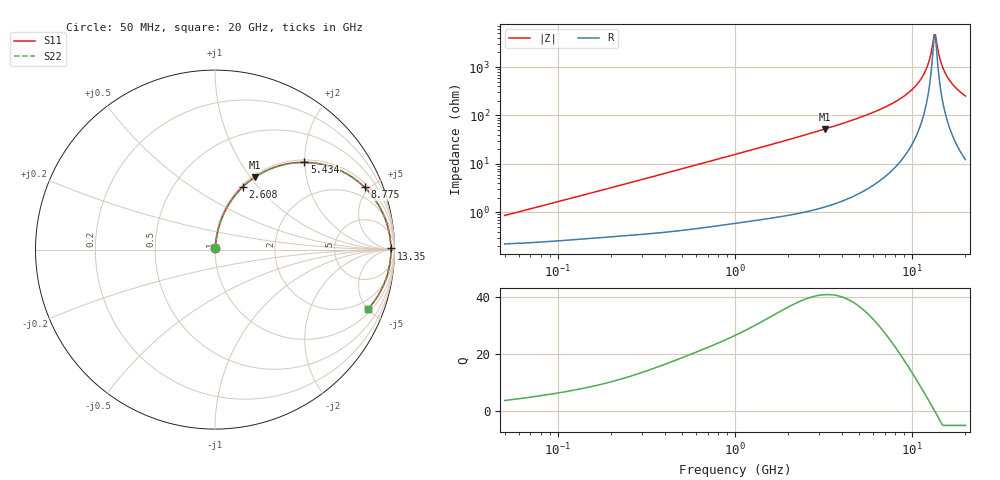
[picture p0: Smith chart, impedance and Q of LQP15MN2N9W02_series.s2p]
!Murata Part Number: LQP15MN2N9W02
!These Parameters are Measured in Series Mode Connection
!  o--[Z]--o
!Port1  Port2
!  o-------o
!Freq. Start=50[MHz] Stop=20[GHz], 401[Steps]
# Hz S RI R 50
!Freq.(Hz) S11(Real) S11(Imag) S21(Real) S21(Imag) S12(Real) S12(Imag) S22(Real) S22(Imag)
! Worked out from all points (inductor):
!   401 points, 50 MHz to 20 GHz, reference 50 ohm
!   read as one part in series: L = 2.63 nH near 51.52 MHz
!   highest Q = 40.9 at 3.217 GHz (marker M1), where L = 2.59 nH
!   self-resonance near 13.35 GHz
!   S11 on the Smith chart (normalised r, x): 50 MHz: 1.00, +0.02; 2.608 GHz: 1.02, +0.83; 5.434 GHz: 1.06, +1.99; 8.775 GHz: 1.25, +4.68; 13.35 GHz: 91, +29; 20 GHz: 1.24, -5.03
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5e7  0.00228 0.00826  0.9977 -0.00826  0.9977 -0.00826  0.00228 0.00826
1.364002e8  0.00327 0.022  0.9967 -0.022  0.9967 -0.022  0.00327 0.022
3.721004e8  0.00715 0.0582  0.9929 -0.0582  0.9929 -0.0582  0.00715 0.0582
1e9  0.0293 0.1508  0.9707 -0.1508  0.9707 -0.1508  0.0293 0.1508
1.714689e9  0.0737 0.2471  0.9263 -0.2471  0.9263 -0.2471  0.0737 0.2471
2.608132e9  0.1542 0.3488  0.8458 -0.3488  0.8458 -0.3488  0.1542 0.3488
2.728004e9  0.1667 0.3605  0.8333 -0.3605  0.8333 -0.3605  0.1667 0.3605
3.216634e9  0.2212 0.403  0.7788 -0.403  0.7788 -0.403  0.2212 0.403
5.433528e9  0.4982 0.4859  0.5018 -0.4859  0.5018 -0.4859  0.4982 0.4859
7.442007e9  0.7224 0.4285  0.2776 -0.4285  0.2776 -0.4285  0.7224 0.4285
8.774992e9  0.8333 0.3473  0.1667 -0.3473  0.1667 -0.3473  0.8333 0.3473
1.019291e10  0.9143 0.2432  0.0857 -0.2432  0.0857 -0.2432  0.9143 0.2432
1.149051e10  0.9582 0.1432  0.0418 -0.1432  0.0418 -0.1432  0.9582 0.1432
1.238412e10  0.974 0.0757  0.026 -0.0757  0.026 -0.0757  0.974 0.0757
1.314879e10  0.9797 0.0202  0.0203 -0.0202  0.0203 -0.0202  0.9797 0.0202
1.334722e10  0.9801 0.00625  0.0199 -0.00625  0.0199 -0.00625  0.9801 0.00625
1.354865e10  0.9802 -0.00772  0.0198 0.00772  0.0198 0.00772  0.9802 -0.00772
1.375312e10  0.9798 -0.0217  0.0202 0.0217  0.0202 0.0217  0.9798 -0.0217
1.460232e10  0.9743 -0.0772  0.0257 0.0772  0.0257 0.0772  0.9743 -0.0772
1.573793e10  0.9587 -0.1449  0.0413 0.1449  0.0413 0.1449  0.9587 -0.1449
1.747767e10  0.9217 -0.2334  0.0783 0.2334  0.0783 0.2334  0.9217 -0.2334
2e10  0.8522 -0.3314  0.1478 0.3314  0.1478 0.3314  0.8522 -0.3314
